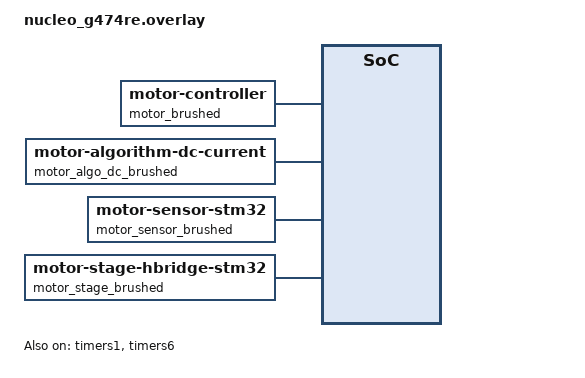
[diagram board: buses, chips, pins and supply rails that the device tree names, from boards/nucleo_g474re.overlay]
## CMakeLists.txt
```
# Copyright (c) 2026 Freedom Veiculos Eletricos
# SPDX-License-Identifier: UNLICENSED

cmake_minimum_required(VERSION 3.20.0)
find_package(Zephyr REQUIRED HINTS $ENV{ZEPHYR_BASE})
project(motor_shell)

target_sources(app PRIVATE src/main.c)
```

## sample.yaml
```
# Copyright (c) 2026 Zephyr Motor Control Contributors
# SPDX-License-Identifier: Apache-2.0
#
# From repo root with ZEPHYR_EXTRA_MODULES: west twister -T samples/motor_shell

sample:
  description: Motor control interactive shell (STM32 LL, NUCLEO-G474RE)
  name: motor_shell
common:
  tags: motor
tests:
  samples.motor.motor_shell:
    build_only: true
    extra_args: CONF_FILE=prj.conf
    integration_platforms:
      - nucleo_g474re
      - nucleo_h753zi
```

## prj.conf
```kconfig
# Copyright (c) 2026 Freedom Veiculos Eletricos
# SPDX-License-Identifier: UNLICENSED
#
# Interactive shell for bench tuning. Build (NUCLEO-G474RE + STM32 LL path):
#   west build -b nucleo_g474re samples/motor_shell -- \
#     -DZEPHYR_EXTRA_MODULES=path/to/zephyr-motion-control
#
# boards/nucleo_g474re.overlay is auto-applied for that board.

CONFIG_PRINTK=y
CONFIG_GPIO=y
CONFIG_COUNTER=y
CONFIG_PINCTRL=y
CONFIG_UART_CONSOLE=y
CONFIG_CONSOLE=y

# Driver init failures (clock, ADC handshakes, outer timer range) are only
# reported through the log.
CONFIG_LOG=y

CONFIG_SHELL=y
CONFIG_SHELL_STACK_SIZE=4096

CONFIG_MOTOR_STAGE_HBRIDGE_STM32=y
CONFIG_MOTOR_SENSOR_STM32=y

CONFIG_MOTOR_CONTROL_LIB=y
CONFIG_MOTOR_SUBSYS=y
CONFIG_MOTOR_CONTROL_SHELL=y
```

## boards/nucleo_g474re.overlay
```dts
/*
 * Copyright (c) 2026 Zephyr Motor Control Contributors
 * SPDX-License-Identifier: Apache-2.0
 *
 * NUCLEO-G474RE: full-bridge DC on TIM1 complementary (CH1/CH1N + CH2/CH2N).
 * TIM1 TRGO -> ADC1 injected.
 */

/ {
	motor_brushed: motor-controller {
		compatible = "zephyr,motor-controller";
		status = "okay";

		sensor = <&motor_sensor_brushed>;
		actuator = <&motor_stage_brushed>;
		algorithm = <&motor_algo_dc_brushed>;
	};

	motor_algo_dc_brushed: motor-algorithm-dc-brushed {
		compatible = "zephyr,motor-algorithm-dc-current";
		status = "okay";

		i-max-ma = <3000>;
	};

	motor_sensor_brushed: motor-sensor-brushed {
		compatible = "zephyr,motor-sensor-stm32";
		status = "okay";

		adc = <&adc1>;
		adc-channels = <1>;
		sync-actuator = <&motor_stage_brushed>;
		zephyr,adc-irq-priority = <2>;
	};

	motor_stage_brushed: motor-stage-brushed {
		compatible = "zephyr,motor-stage-hbridge-stm32";
		status = "okay";

		st,pwm-timer = <&timers1>;
		slow-timer = <&motor_slow_counter>;
		slow-sample-div = <10>;
		pwm-channels = <1 2>;
		pwm-frequency = <20000>;
		deadtime-ns = <500>;
		trgo-source = "update";

		pinctrl-0 = <&tim1_ch1_pa8 &tim1_ch1n_pa7
			     &tim1_ch2_pa9 &tim1_ch2n_pb0>;
		pinctrl-names = "complementary";
	};
};

&timers1 {
	status = "okay";
	st,prescaler = <0>;
};

&timers6 {
	status = "okay";
	/* TIM6 counts 16 bits: the 500 us outer tick only fits once the timer
	 * clock is divided down.
	 */
	st,prescaler = <3>;

	motor_slow_counter: counter {
		status = "okay";
	};
};
```

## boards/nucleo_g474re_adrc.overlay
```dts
/*
 * Copyright (c) 2026 Zephyr Motor Control Contributors
 * SPDX-License-Identifier: Apache-2.0
 *
 * Extra overlay to switch motor_shell from dc-current to adrc-current.
 * Use together with boards/nucleo_g474re.overlay.
 */

&motor_algo_dc_brushed {
	compatible = "zephyr,motor-algorithm-adrc-current";

	adrc-current-kp-milli = <1000>;
	adrc-current-b0-milli = <1000>;
	adrc-current-beta1-milli = <2000>;
	adrc-current-beta2-milli = <100000>;
	adrc-current-out-min-milli = <(-1000)>;
	adrc-current-out-max-milli = <1000>;
	i-max-ma = <3000>;
};
```

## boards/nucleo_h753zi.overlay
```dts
/*
 * Copyright (c) 2026 Zephyr Motor Control Contributors
 * SPDX-License-Identifier: Apache-2.0
 *
 * NUCLEO-H753ZI: full-bridge DC on TIM1 complementary (CH1/CH1N + CH2/CH2N).
 * TIM1 TRGO -> ADC3 injected.
 */

/ {
	motor_brushed: motor-controller {
		compatible = "zephyr,motor-controller";
		status = "okay";

		sensor = <&motor_sensor_brushed>;
		actuator = <&motor_stage_brushed>;
		algorithm = <&motor_algo_dc_brushed>;
	};

	motor_algo_dc_brushed: motor-algorithm-dc-brushed {
		compatible = "zephyr,motor-algorithm-dc-current";
		status = "okay";

		i-max-ma = <3000>;
	};

	motor_sensor_brushed: motor-sensor-brushed {
		compatible = "zephyr,motor-sensor-stm32";
		status = "okay";

		adc = <&adc3>;
		adc-channels = <1>;
		sync-actuator = <&motor_stage_brushed>;
		zephyr,adc-irq-priority = <2>;
	};

	motor_stage_brushed: motor-stage-brushed {
		compatible = "zephyr,motor-stage-hbridge-stm32";
		status = "okay";

		st,pwm-timer = <&timers1>;
		slow-timer = <&motor_slow_counter>;
		slow-sample-div = <10>;
		pwm-channels = <1 2>;
		pwm-frequency = <20000>;
		deadtime-ns = <500>;
		trgo-source = "update";

		pinctrl-0 = <&tim1_ch1_pa8 &tim1_ch1n_pa7
			     &tim1_ch2_pa9 &tim1_ch2n_pb0>;
		pinctrl-names = "complementary";
	};
};

&adc3 {
	status = "okay";
	pinctrl-0 = <&adc3_inp1_pc3_c>;
	pinctrl-names = "default";
};

&timers1 {
	status = "okay";
	st,prescaler = <0>;
};

&timers6 {
	status = "okay";
	/* TIM6 counts 16 bits: the 500 us outer tick only fits once the timer
	 * clock is divided down.
	 */
	st,prescaler = <3>;

	motor_slow_counter: counter {
		status = "okay";
	};
};
```

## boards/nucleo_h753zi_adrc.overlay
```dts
/*
 * Copyright (c) 2026 Zephyr Motor Control Contributors
 * SPDX-License-Identifier: Apache-2.0
 *
 * Extra overlay to switch motor_shell from dc-current to adrc-current.
 * Use together with boards/nucleo_h753zi.overlay.
 */

&motor_algo_dc_brushed {
	compatible = "zephyr,motor-algorithm-adrc-current";

	adrc-current-kp-milli = <1000>;
	adrc-current-b0-milli = <1000>;
	adrc-current-beta1-milli = <2000>;
	adrc-current-beta2-milli = <100000>;
	adrc-current-out-min-milli = <(-1000)>;
	adrc-current-out-max-milli = <1000>;
	i-max-ma = <3000>;
};
```

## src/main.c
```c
/*
 * Copyright (c) 2026 Freedom Veiculos Eletricos
 * SPDX-License-Identifier: UNLICENSED
 *
 * Boots the console shell. Motor instances come from Devicetree; use
 *   motor list
 *   motor use <index|label>
 *   motor selftest
 *   motor enable
 *   motor current <A>
 *   motor status
 *   motor pi <Kp> <Ki> [0|1]
 *   motor imax <A>
 * Type ``motor`` in the shell for the full command set.
 */

#include <zephyr/devicetree.h>
#include <zephyr/kernel.h>

#include <zephyr/subsys/motor/motor_subsys.h>

BUILD_ASSERT(DT_NODE_EXISTS(DT_NODELABEL(motor_brushed)),
	     "Add motor_brushed zephyr,motor-controller in board overlay");

int main(void)
{
	k_sleep(K_SECONDS(1U));
	/* Shell runs on the console UART; `motor` commands require motor_subsys. */
	return 0;
}
```
